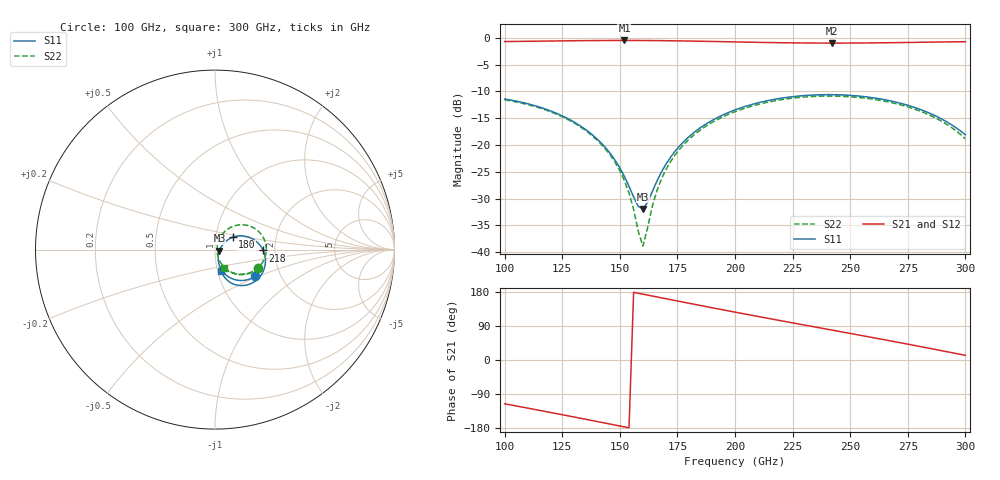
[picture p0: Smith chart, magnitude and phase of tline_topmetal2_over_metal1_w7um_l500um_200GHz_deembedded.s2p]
! Created with skrf 2.0.1 (http://scikit-rf.org).
# GHz S DB R 50.0
!freq dBS11 angS11 dBS21 angS21 dBS12 angS12 dBS22 angS22
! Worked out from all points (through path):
!   101 points, 100 GHz to 300 GHz, reference 50 ohm
!   highest |S21| = -0.51 dB at 152 GHz (marker M1); lowest = -1.0 dB at 242 GHz (marker M2)
!   group delay of S21, straight-line fit = 3.22 ps
!   lowest |S11| = -31.9 dB at 160 GHz (marker M3), VSWR 1.05, Z = 52.5 - j0.61 ohm
!   |S11| at or under -10 dB: start of sweep to end of sweep
!   |S22| runs from -38.9 to -10.9 dB; largest |S21 - S12| = 1.6e-13
!   S11 on the Smith chart (normalised r, x): 100 GHz: 1.48, -0.48; 180 GHz: 1.20, +0.17; 218 GHz: 1.73, -0.02; 300 GHz: 1.04, -0.25
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100  -11.43 -33.7  -0.71 -115.5  -0.71 -115.5  -11.58 -23.1
118  -13.34 -52.8  -0.62 -136.2  -0.62 -136.2  -13.50 -41.2
134  -16.77 -68.2  -0.55 -155.0  -0.55 -155.0  -16.96 -56.8
144  -20.61 -74.4  -0.52 -166.9  -0.52 -166.9  -20.88 -65.2
148  -22.87 -74.3  -0.51 -171.8  -0.51 -171.8  -23.27 -67.3
152  -25.86 -70.0  -0.51 -176.6  -0.51 -176.6  -26.63 -67.1
156  -29.70 -54.1  -0.51 178.6  -0.51 178.6  -32.02 -58.8
158  -31.43 -36.7  -0.51 176.2  -0.51 176.2  -36.07 -41.6
160  -31.92 -13.2  -0.52 173.8  -0.52 173.8  -38.88 3.1
164  -28.80 22.1  -0.53 169.0  -0.53 169.0  -31.62 59.7
168  -25.11 34.3  -0.55 164.1  -0.55 164.1  -26.41 67.2
174  -21.16 37.4  -0.58 156.9  -0.58 156.9  -21.85 66.1
180  -18.46 34.9  -0.62 149.8  -0.62 149.8  -18.96 61.8
190  -15.44 26.9  -0.69 138.0  -0.69 138.0  -15.81 52.6
200  -13.46 17.3  -0.78 126.3  -0.78 126.3  -13.79 42.6
218  -11.42 -1.0  -0.92 105.8  -0.92 105.8  -11.71 24.2
234  -10.68 -17.5  -0.99 87.9  -0.99 87.9  -10.95 7.8
242  -10.62 -25.6  -1.00 79.0  -1.00 79.0  -10.88 -0.5
254  -10.89 -37.6  -0.98 65.6  -0.98 65.6  -11.16 -13.1
268  -11.83 -51.3  -0.92 49.8  -0.92 49.8  -12.11 -28.0
286  -14.37 -66.9  -0.82 29.0  -0.82 29.0  -14.74 -47.9
300  -18.11 -73.7  -0.74 12.3  -0.74 12.3  -18.86 -64.2
